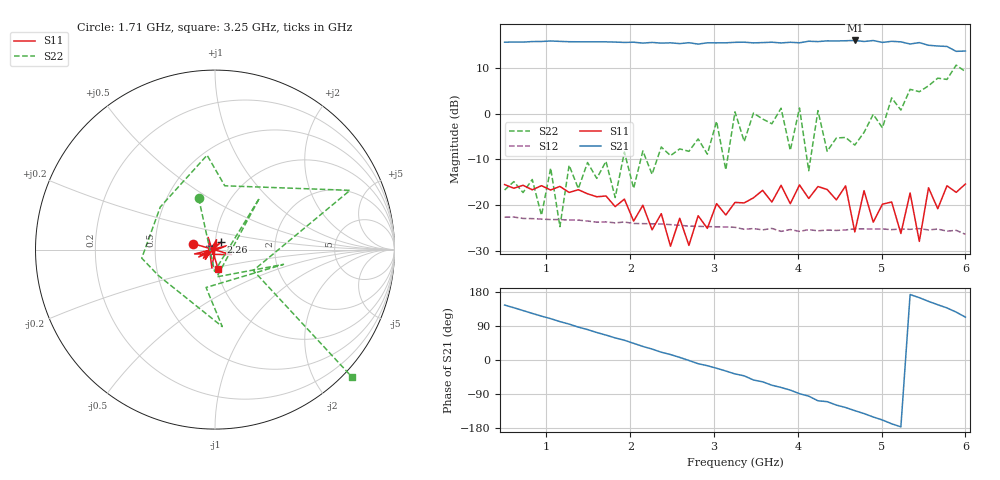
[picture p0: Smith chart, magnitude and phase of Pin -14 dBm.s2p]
! RsaToolbox (C) 2015 Rohde & Schwarz America
! Number of points: 51
! Number of ports: 2
! Balanced ports?: No
# Hz S RI R 50
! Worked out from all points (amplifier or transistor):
!   51 points, 500 MHz to 6 GHz, reference 50 ohm
!   highest |S21| = 16.0 dB at 4.68 GHz (marker M1)
!   |S21| within 3 dB of that: start of sweep to end of sweep
!   unconditionally stable (mu >= 1): start of sweep to 3.003 GHz; 3.048 GHz to 3.218 GHz; 4.292 GHz to 4.794 GHz (the widest 3 of 6)
!   at 1.38 GHz: K = 1.34, MAG = 16.0 dB, |S12| = -23.3 dB
!   at 3.25 GHz: K = 0.11, MSG = 20.2 dB, |S12| = -24.9 dB
!   at 6 GHz: K = -14.90, MSG = 20.0 dB, |S12| = -26.4 dB
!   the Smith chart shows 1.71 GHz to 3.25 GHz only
!   S11 on the Smith chart (normalised r, x): 1.71 GHz: 0.78, +0.05; 2.26 GHz: 1.07, +0.09; 3.25 GHz: 1.01, -0.22
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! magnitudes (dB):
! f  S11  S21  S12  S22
! 500 MHz  -15.5  15.6  -22.7  -16.7
! 940 MHz  -15.8  15.7  -23.1  -22.2
! 1.05 GHz  -16.7  15.8  -23.2  -11.9
! 1.16 GHz  -15.9  15.8  -23.2  -24.7
! 1.27 GHz  -17.2  15.7  -23.3  -11.3
! 1.49 GHz  -17.5  15.7  -23.5  -10.7
! 1.71 GHz  -18.0  15.7  -23.7  -10.5
! 2.26 GHz  -25.4  15.5  -24.1  -13.3
! 2.37 GHz  -21.9  15.4  -24.1  -7.3
! 2.7 GHz  -28.8  15.5  -24.6  -8.3
! 3.03 GHz  -19.7  15.4  -24.7  -1.7
! 3.14 GHz  -22.2  15.4  -24.8  -12.3
! 3.25 GHz  -19.4  15.5  -24.9  0.4
! 3.91 GHz  -19.7  15.6  -25.3  -8.0
! 4.02 GHz  -15.6  15.4  -25.7  1.2
! 4.13 GHz  -18.6  15.8  -25.4  -12.5
! 4.24 GHz  -15.9  15.7  -25.6  0.6
! 4.68 GHz  -25.9  16.0  -25.2  -6.9
! 5.12 GHz  -19.3  15.8  -25.4  3.4
! 5.45 GHz  -27.9  15.5  -25.1  4.8
! 5.56 GHz  -16.2  14.9  -25.4  6.1
! 6 GHz  -15.4  13.6  -26.4  9.2
